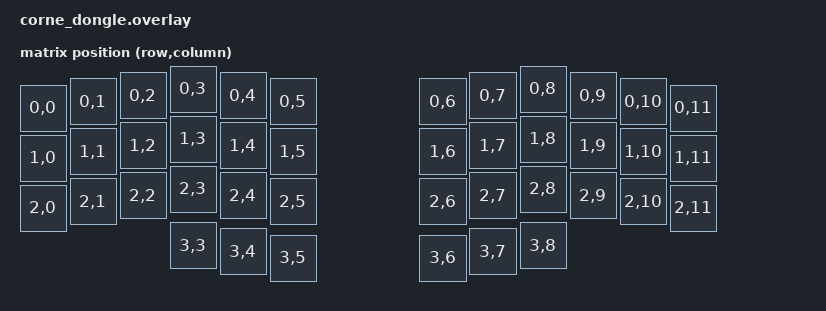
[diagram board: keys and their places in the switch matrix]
/*
 * Copyright (c) 2020 The ZMK Contributors
 *
 * SPDX-License-Identifier: MIT
 */

#include <dt-bindings/zmk/matrix_transform.h>
#include <physical_layouts.dtsi>

/ {
	chosen {
		zmk,kscan = &kscan0;
		zmk,matrix-transform = &default_transform;
		zmk,physical-layout = &corne_layout;
	};

	default_transform: keymap_transform_0 {
		compatible = "zmk,matrix-transform";
		columns = <12>;
		rows = <4>;
		map = <
RC(0,0) RC(0,1) RC(0,2) RC(0,3) RC(0,4) RC(0,5)  RC(0,6) RC(0,7) RC(0,8) RC(0,9) RC(0,10) RC(0,11)
RC(1,0) RC(1,1) RC(1,2) RC(1,3) RC(1,4) RC(1,5)  RC(1,6) RC(1,7) RC(1,8) RC(1,9) RC(1,10) RC(1,11)
RC(2,0) RC(2,1) RC(2,2) RC(2,3) RC(2,4) RC(2,5)  RC(2,6) RC(2,7) RC(2,8) RC(2,9) RC(2,10) RC(2,11)
                        RC(3,3) RC(3,4) RC(3,5)  RC(3,6) RC(3,7) RC(3,8)
		>;
	};

	kscan0: kscan {
		compatible = "zmk,kscan-mock";
	};

	corne_layout: corne_layout {
		compatible = "zmk,physical-layout";
		display-name = "Corne";
		transform = <&default_transform>;
		kscan = <&kscan0>;
		
		keys  //                     w   h    x    y     rot    rx    ry
			= <&key_physical_attrs 100 100    0   38       0     0     0>
			, <&key_physical_attrs 100 100  100   25       0     0     0>
			, <&key_physical_attrs 100 100  200   13       0     0     0>
			, <&key_physical_attrs 100 100  300    0       0     0     0>
			, <&key_physical_attrs 100 100  400   13       0     0     0>
			, <&key_physical_attrs 100 100  500   25       0     0     0>
			, <&key_physical_attrs 100 100  800   25       0     0     0>
			, <&key_physical_attrs 100 100  900   13       0     0     0>
			, <&key_physical_attrs 100 100 1000    0       0     0     0>
			, <&key_physical_attrs 100 100 1100   13       0     0     0>
			, <&key_physical_attrs 100 100 1200   25       0     0     0>
			, <&key_physical_attrs 100 100 1300   38       0     0     0>
			, <&key_physical_attrs 100 100    0  138       0     0     0>
			, <&key_physical_attrs 100 100  100  125       0     0     0>
			, <&key_physical_attrs 100 100  200  113       0     0     0>
			, <&key_physical_attrs 100 100  300  100       0     0     0>
			, <&key_physical_attrs 100 100  400  113       0     0     0>
			, <&key_physical_attrs 100 100  500  125       0     0     0>
			, <&key_physical_attrs 100 100  800  125       0     0     0>
			, <&key_physical_attrs 100 100  900  113       0     0     0>
			, <&key_physical_attrs 100 100 1000  100       0     0     0>
			, <&key_physical_attrs 100 100 1100  113       0     0     0>
			, <&key_physical_attrs 100 100 1200  125       0     0     0>
			, <&key_physical_attrs 100 100 1300  138       0     0     0>
			, <&key_physical_attrs 100 100    0  238       0     0     0>
			, <&key_physical_attrs 100 100  100  225       0     0     0>
			, <&key_physical_attrs 100 100  200  213       0     0     0>
			, <&key_physical_attrs 100 100  300  200       0     0     0>
			, <&key_physical_attrs 100 100  400  213       0     0     0>
			, <&key_physical_attrs 100 100  500  225       0     0     0>
			, <&key_physical_attrs 100 100  800  225       0     0     0>
			, <&key_physical_attrs 100 100  900  213       0     0     0>
			, <&key_physical_attrs 100 100 1000  200       0     0     0>
			, <&key_physical_attrs 100 100 1100  213       0     0     0>
			, <&key_physical_attrs 100 100 1200  225       0     0     0>
			, <&key_physical_attrs 100 100 1300  238       0     0     0>
			, <&key_physical_attrs 100 100  300  313       0     0     0>
			, <&key_physical_attrs 100 100  400  325       0     0     0>
			, <&key_physical_attrs 100 100  500  338       0     0     0>
			, <&key_physical_attrs 100 100  800  338       0     0     0>
			, <&key_physical_attrs 100 100  900  325       0     0     0>
			, <&key_physical_attrs 100 100 1000  313       0     0     0>
			;
	};
};

